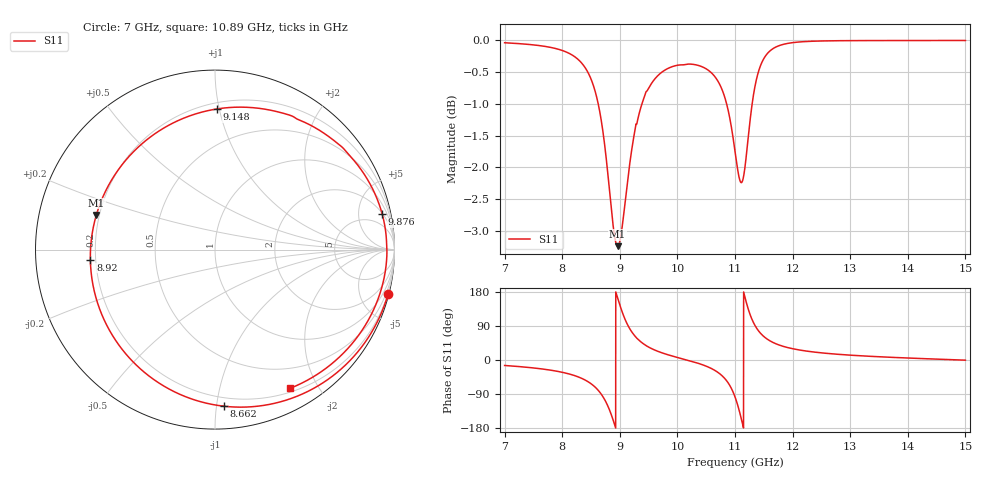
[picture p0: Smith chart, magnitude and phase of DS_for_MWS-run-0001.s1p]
! TOUCHSTONE file generated by CST DESIGN STUDIO
! Date and time: Mon Feb 10 16:50:44 2025
! Project name: C:\Work\MatlabApps\UnitCellType2OptimizationMatlab\CST\unitcell.cst
! Tree item: Tasks\Sweep1\SPara1\S-Parameters
! Header version: 2024
! Port assignment regex: !\s*Touchstone port\s*([0-9]+)\s*=\s*(CST MWS port|CST DES external port|CST DES block port)\s*(.+)\s* \(\"(.*)\"\)(\s*mode\s*([0-9]+))?.*
! Touchstone port assignment:
! Touchstone port 1 = CST DES external port 1 ("")
# GHz S MA R 50
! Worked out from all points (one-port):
!   4001 points, 7 GHz to 15 GHz, reference 50 ohm
!   lowest |S11| = -3.2 dB at 8.962 GHz (marker M1), VSWR 5.42, Z = 9.4 + j6.89 ohm
!   |S11| at or under -10 dB: nowhere
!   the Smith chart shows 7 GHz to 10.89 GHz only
!   S11 on the Smith chart (normalised r, x): 7 GHz: 0.13, -7.89; 8.662 GHz: 0.14, -1.05; 8.92 GHz: 0.18, -0.04; 9.148 GHz: 0.24, +0.98; 9.876 GHz: 2.13, +9.03; 10.89 GHz: 0.24, -1.66
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7  0.9958 -14.4
8  0.982 -32.4
8.402  0.9513 -53.2
8.662  0.8737 -86.8
8.792  0.7856 -121.3
8.92  0.6967 -175.5
8.962  0.6887 163.8
9  0.6949 145.3
9.072  0.7323 114.3
9.148  0.7838 89.2
9.278  0.8584 60.4
9.428  0.9036 40.9
9.876  0.9523 12.0
10  0.956 6.7
10.6  0.9421 -23.2
10.764  0.9173 -40.0
10.886  0.8791 -61.5
11  0.8181 -97.2
11.072  0.7798 -132.8
11.154  0.7839 177.0
11.24  0.8475 129.6
11.324  0.9079 97.7
11.438  0.9541 71.4
11.57  0.9775 54.0
12  0.996 29.8
13  0.9997 12.8
14  0.9998 5.2
15  0.9999 -0.4
